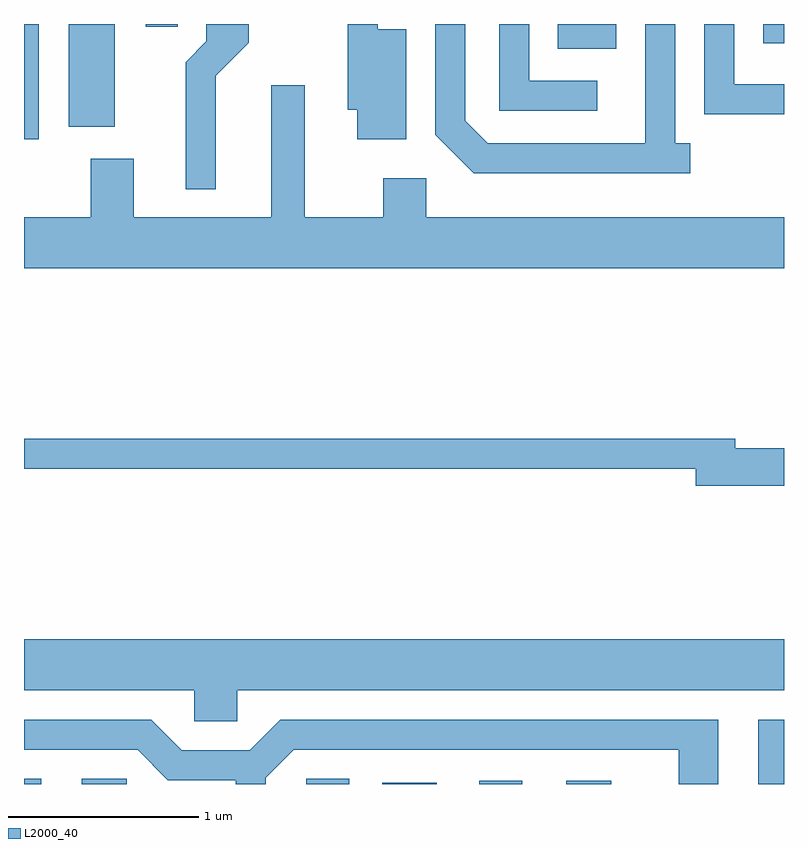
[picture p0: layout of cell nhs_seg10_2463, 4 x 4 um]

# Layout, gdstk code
import gdstk
lib = gdstk.Library(unit=1e-6, precision=1e-09)
def R(c, l, rs):  # rectangles x0, y0, x1, y1
    for r in rs: c.add(gdstk.rectangle(r[:2], r[2:], *l))
def P(c, l, *ps):  # polygons
    for p in ps: c.add(gdstk.Polygon(p, *l))
L2000_40 = (2000, 40)

nhs_seg10_2463 = lib.new_cell('nhs_seg10_2463')
R(nhs_seg10_2463, L2000_40, [(257.611,2124.522,257.703,2124.549), (257.916,2124.522,258.153,2124.549), (259.096,2124.522,259.324,2124.549), (259.496,2124.522,259.783,2124.529), (260.006,2124.522,260.234,2124.539), (260.466,2124.522,260.703,2124.539), (261.476,2124.522,261.611,2124.859), (257.611,2127.916,257.689,2128.522), (257.846,2127.981,258.089,2128.522), (260.421,2128.391,260.729,2128.522), (261.501,2128.421,261.611,2128.522), (258.251,2128.508,258.419,2128.522)])
P(nhs_seg10_2463, L2000_40, [(261.611,2128.204),(261.349,2128.204),(261.349,2128.522),(261.191,2128.522),(261.191,2128.046),(261.611,2128.046)],
  [(258.619,2128.249),(258.794,2128.424),(258.794,2128.522),(258.571,2128.522),(258.571,2128.432),(258.461,2128.322),(258.461,2127.653),(258.619,2127.653)],
  [(259.624,2128.494),(259.474,2128.494),(259.474,2128.522),(259.316,2128.522),(259.316,2128.071),(259.366,2128.071),(259.366,2127.916),(259.624,2127.916)],
  [(260.628,2128.224),(260.269,2128.224),(260.269,2128.522),(260.111,2128.522),(260.111,2128.066),(260.628,2128.066)],
  [(261.118,2127.894),(261.039,2127.894),(261.039,2128.522),(260.881,2128.522),(260.881,2127.894),(260.052,2127.894),(259.934,2128.012),(259.934,2128.522),(259.776,2128.522),(259.776,2127.939),(259.979,2127.736),(261.118,2127.736)],
  [(261.611,2127.504),(259.729,2127.504),(259.729,2127.709),(259.501,2127.709),(259.501,2127.504),(259.089,2127.504),(259.089,2128.199),(258.911,2128.199),(258.911,2127.504),(258.189,2127.504),(258.189,2127.814),(257.961,2127.814),(257.961,2127.504),(257.611,2127.504),(257.611,2127.236),(261.611,2127.236)],
  [(261.611,2126.289),(261.354,2126.289),(261.354,2126.339),(257.611,2126.339),(257.611,2126.181),(261.146,2126.181),(261.146,2126.091),(261.611,2126.091)],
  [(258.734,2125.016),(261.611,2125.016),(261.611,2125.284),(257.611,2125.284),(257.611,2125.016),(258.506,2125.016),(258.506,2124.851),(258.734,2124.851)],
  [(258.884,2124.554),(259.032,2124.701),(261.056,2124.701),(261.056,2124.522),(261.264,2124.522),(261.264,2124.859),(258.959,2124.859),(258.799,2124.699),(258.442,2124.699),(258.282,2124.859),(257.611,2124.859),(257.611,2124.701),(258.209,2124.701),(258.368,2124.541),(258.726,2124.541),(258.726,2124.522),(258.884,2124.522)])

lib.write_gds('nhs_seg10_2463.gds')
